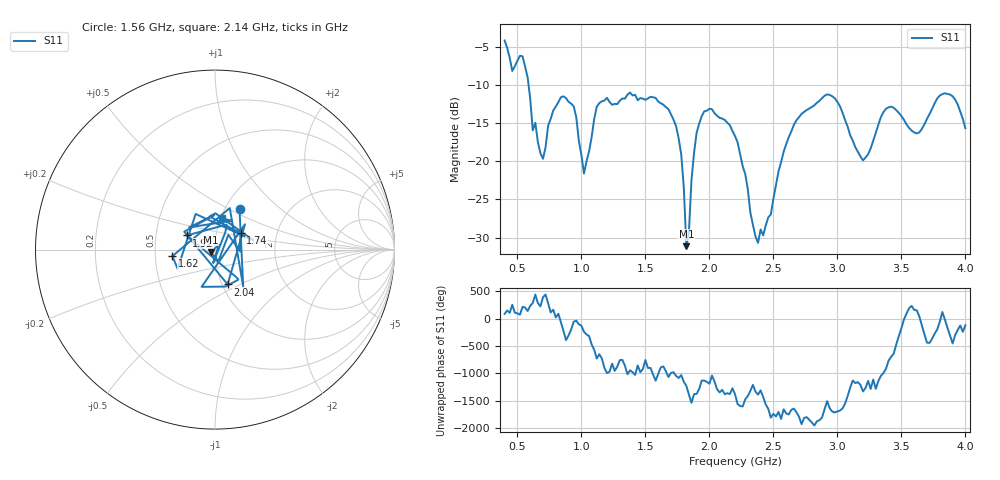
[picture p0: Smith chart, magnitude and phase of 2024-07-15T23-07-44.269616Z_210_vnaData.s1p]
!Created with skrf (http://scikit-rf.org).
# Hz S RI R 50.0
!freq ReS11 ImS11
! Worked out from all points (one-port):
!   181 points, 400 MHz to 4 GHz, reference 50 ohm
!   lowest |S11| = -31.1 dB at 1.82 GHz (marker M1), VSWR 1.06, Z = 47.6 - j1.33 ohm
!   |S11| at or under -10 dB: 587 MHz to end of sweep
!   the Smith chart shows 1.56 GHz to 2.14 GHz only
!   S11 on the Smith chart (normalised r, x): 1.56 GHz: 1.17, +0.56; 1.62 GHz: 0.62, -0.05; 1.74 GHz: 1.31, +0.24; 1.92 GHz: 0.72, +0.12; 2.04 GHz: 1.06, -0.43; 2.14 GHz: 1.01, +0.37
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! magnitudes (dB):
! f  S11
! 400 MHz  -4.2
! 460 MHz  -8.2
! 540 MHz  -6.3
! 620 MHz  -16.0
! 700 MHz  -19.7
! 860 MHz  -11.5
! 940 MHz  -12.8
! 1.02 GHz  -21.6
! 1.12 GHz  -12.9
! 1.3 GHz  -12.1
! 1.56 GHz  -11.6
! 1.62 GHz  -12.4
! 1.74 GHz  -15.4
! 1.76 GHz  -17.0
! 1.82 GHz  -31.1
! 1.92 GHz  -15.1
! 2.04 GHz  -13.7
! 2.14 GHz  -15.0
! 2.2 GHz  -16.7
! 2.38 GHz  -30.7
! 2.66 GHz  -15.2
! 2.92 GHz  -11.3
! 3.1 GHz  -16.6
! 3.2 GHz  -19.9
! 3.38 GHz  -13.1
! 3.56 GHz  -15.6
! 3.84 GHz  -11.1
! 4 GHz  -15.7
